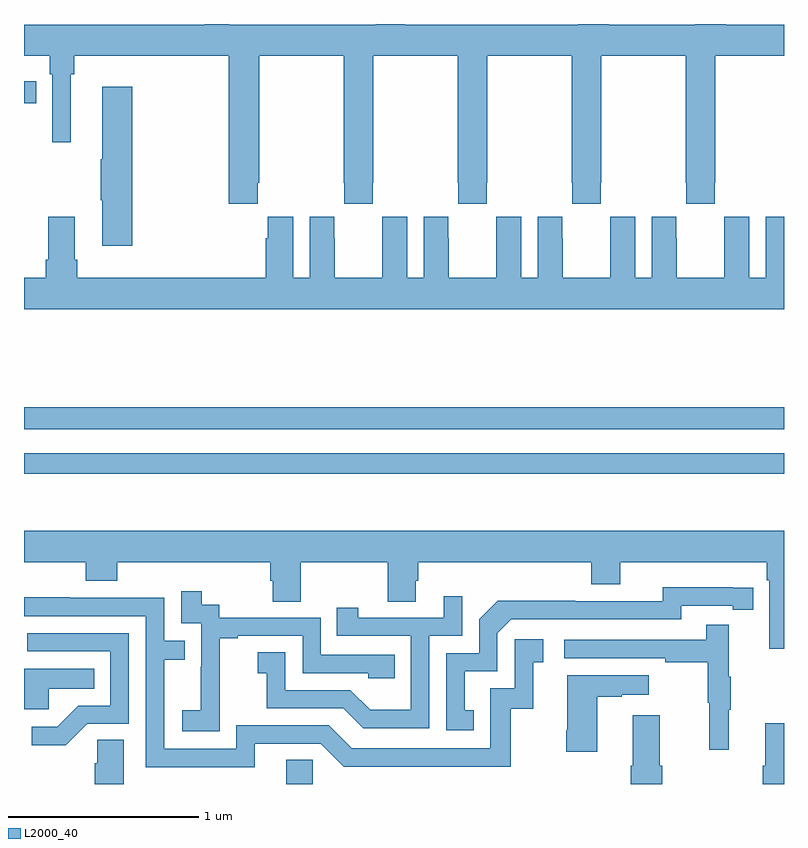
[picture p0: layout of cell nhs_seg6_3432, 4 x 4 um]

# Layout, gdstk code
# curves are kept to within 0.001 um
import gdstk
lib = gdstk.Library(unit=1e-6, precision=1e-09)
def R(c, l, rs):  # rectangles x0, y0, x1, y1
    for r in rs: c.add(gdstk.rectangle(r[:2], r[2:], *l))
def P(c, l, *ps):  # polygons
    for p in ps: c.add(gdstk.Polygon(p, *l))
L2000_40 = (2000, 40)

nhs_seg6_3432 = lib.new_cell('nhs_seg6_3432')
R(nhs_seg6_3432, L2000_40, [(314.381,947.5,314.52,947.627), (313,949.134,317,949.242), (313,949.368,317,949.484), (313,951.082,313.064,951.198)])
P(nhs_seg6_3432, L2000_40, [(314.231,950.665),(314.238,950.665),(314.238,951.332),(314.683,951.332),(314.683,950.665),(314.685,950.665),(314.685,950.553),(314.835,950.553),(314.835,950.665),(314.838,950.665),(314.838,951.332),(315.283,951.332),(315.283,950.665),(315.285,950.665),(315.285,950.553),(315.435,950.553),(315.435,950.665),(315.438,950.665),(315.438,951.332),(315.883,951.332),(315.883,950.665),(315.885,950.665),(315.885,950.553),(316.035,950.553),(316.035,950.665),(316.038,950.665),(316.038,951.332),(316.483,951.332),(316.483,950.665),(316.485,950.665),(316.485,950.553),(316.635,950.553),(316.635,950.665),(316.638,950.665),(316.638,951.332),(317,951.332),(317,951.496),(316.694,951.496),(316.694,951.5),(316.534,951.5),(316.534,951.496),(316.077,951.496),(316.077,951.5),(315.917,951.5),(315.917,951.496),(315.005,951.496),(315.005,951.5),(314.852,951.5),(314.852,951.496),(314.081,951.496),(314.081,951.5),(313.951,951.5),(313.951,951.496),(313,951.496),(313,951.332),(313.136,951.332),(313.136,951.236),(313.149,951.236),(313.149,950.877),(313.246,950.877),(313.246,951.236),(313.265,951.236),(313.265,951.332),(314.078,951.332),(314.078,950.553),(314.231,950.553)],
  [(313.571,951.169),(313.412,951.169),(313.412,950.789),(313.405,950.789),(313.405,950.572),(313.412,950.572),(313.412,950.334),(313.571,950.334)],
  [(317,950.485),(316.904,950.485),(316.904,950.164),(316.816,950.164),(316.816,950.485),(316.686,950.485),(316.686,950.372),(316.685,950.372),(316.685,950.164),(316.435,950.164),(316.435,950.372),(316.434,950.372),(316.434,950.485),(316.304,950.485),(316.304,950.164),(316.216,950.164),(316.216,950.485),(316.086,950.485),(316.086,950.372),(316.085,950.372),(316.085,950.164),(315.835,950.164),(315.835,950.372),(315.834,950.372),(315.834,950.485),(315.704,950.485),(315.704,950.164),(315.616,950.164),(315.616,950.485),(315.486,950.485),(315.486,950.372),(315.485,950.372),(315.485,950.164),(315.235,950.164),(315.235,950.372),(315.234,950.372),(315.234,950.485),(315.104,950.485),(315.104,950.164),(315.016,950.164),(315.016,950.485),(314.886,950.485),(314.886,950.372),(314.885,950.372),(314.885,950.164),(314.635,950.164),(314.635,950.372),(314.634,950.372),(314.634,950.485),(314.504,950.485),(314.504,950.164),(314.416,950.164),(314.416,950.485),(314.282,950.485),(314.282,950.372),(314.273,950.372),(314.273,950.164),(313.28,950.164),(313.28,950.26),(313.267,950.26),(313.267,950.485),(313.127,950.485),(313.127,950.26),(313.115,950.26),(313.115,950.164),(313,950.164),(313,950),(317,950)],
  [(317,948.832),(313,948.832),(313,948.668),(313.325,948.668),(313.325,948.569),(313.49,948.569),(313.49,948.668),(314.297,948.668),(314.297,948.57),(314.309,948.57),(314.309,948.46),(314.457,948.46),(314.457,948.668),(314.914,948.668),(314.914,948.46),(315.061,948.46),(315.061,948.57),(315.074,948.57),(315.074,948.668),(315.986,948.668),(315.986,948.551),(316.138,948.551),(316.138,948.668),(316.91,948.668),(316.91,948.572),(316.923,948.572),(316.923,948.213),(317,948.213)],
  [(315.368,947.889),(315.319,947.889),(315.319,948.093),(315.492,948.093),(315.492,948.294),(315.564,948.366),(316.458,948.366),(316.458,948.438),(316.73,948.438),(316.73,948.418),(316.838,948.418),(316.838,948.534),(316.362,948.535),(316.362,948.462),(315.902,948.462),(315.902,948.464),(315.494,948.464),(315.396,948.366),(315.396,948.189),(315.222,948.189),(315.222,947.784),(315.368,947.784)],
  [(314.031,947.983),(314.03,947.983),(314.03,948.267),(314.125,948.267),(314.125,948.279),(314.466,948.279),(314.466,948.084),(314.811,948.084),(314.811,948.057),(314.951,948.057),(314.951,948.18),(314.562,948.18),(314.562,948.375),(314.028,948.375),(314.028,948.444),(313.936,948.444),(313.936,948.514),(313.827,948.514),(313.827,948.345),(313.932,948.345),(313.932,948.116),(313.931,948.116),(313.931,947.887),(313.833,947.887),(313.833,947.777),(314.031,947.777)],
  [(315.132,948.279),(315.306,948.279),(315.306,948.487),(315.209,948.487),(315.209,948.375),(314.758,948.375),(314.758,948.427),(314.647,948.427),(314.647,948.279),(315.036,948.279),(315.036,947.89),(314.822,947.89),(314.718,947.994),(314.376,947.994),(314.376,948.193),(314.229,948.193),(314.229,948.083),(314.278,948.083),(314.278,947.898),(314.681,947.898),(314.786,947.793),(315.132,947.793)],
  [(314.215,947.712),(314.562,947.712),(314.682,947.592),(315.562,947.592),(315.562,947.895),(315.68,947.895),(315.68,948.141),(315.733,948.141),(315.733,948.262),(315.582,948.262),(315.582,948.003),(315.453,948.003),(315.453,947.688),(314.724,947.688),(314.604,947.808),(314.118,947.808),(314.118,947.685),(313.737,947.685),(313.737,948.154),(313.847,948.154),(313.847,948.255),(313.737,948.255),(313.737,948.48),(313.241,948.48),(313.241,948.482),(313,948.482),(313,948.384),(313.641,948.384),(313.641,947.589),(314.215,947.589)],
  [(316.709,947.891),(316.72,947.891),(316.72,948.065),(316.709,948.065),(316.709,948.337),(316.591,948.337),(316.591,948.258),(315.843,948.258),(315.843,948.162),(316.375,948.162),(316.375,948.142),(316.599,948.142),(316.599,947.928),(316.606,947.928),(316.606,947.679),(316.709,947.679)],
  [(313.332,947.817),(313.551,947.817),(313.551,948.294),(313.017,948.294),(313.017,948.198),(313.455,948.198),(313.455,947.913),(313.286,947.913),(313.175,947.802),(313.041,947.802),(313.041,947.705),(313.219,947.705)],
  [(313.131,948.002),(313.37,948.002),(313.37,948.106),(313,948.106),(313,947.894),(313.131,947.894)],
  [(316.018,947.959),(316.145,947.959),(316.145,947.969),(316.288,947.969),(316.288,948.073),(315.86,948.073),(315.86,947.782),(315.853,947.782),(315.853,947.67),(316.018,947.67)],
  [(317,947.821),(316.901,947.821),(316.901,947.596),(316.889,947.596),(316.889,947.5),(317,947.5)],
  [(316.358,947.596),(316.345,947.596),(316.345,947.863),(316.205,947.863),(316.205,947.596),(316.193,947.596),(316.193,947.5),(316.358,947.5)],
  [(313.386,947.732),(313.386,947.609),(313.373,947.609),(313.373,947.5),(313.525,947.5),(313.525,947.732)])

lib.write_gds('nhs_seg6_3432.gds')
